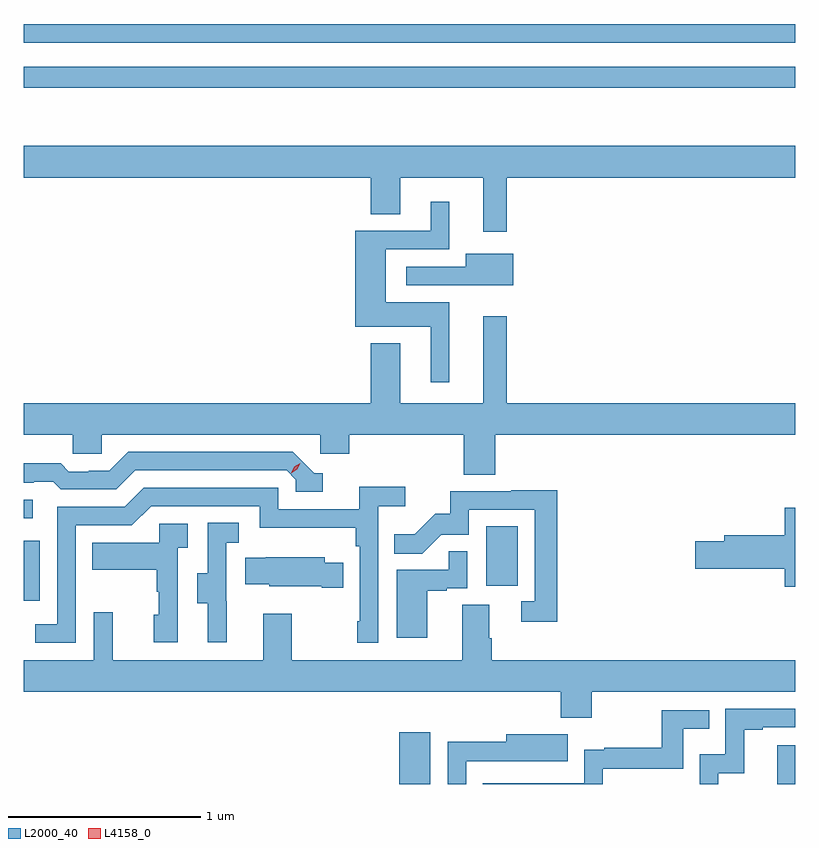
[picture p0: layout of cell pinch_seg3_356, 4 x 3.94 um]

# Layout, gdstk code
import gdstk
lib = gdstk.Library(unit=1e-6, precision=1e-09)
def R(c, l, rs):  # rectangles x0, y0, x1, y1
    for r in rs: c.add(gdstk.rectangle(r[:2], r[2:], *l))
def P(c, l, *ps):  # polygons
    for p in ps: c.add(gdstk.Polygon(p, *l))
L2000_40 = (2000, 40)
L4158_0 = (4158, 0)

pinch_seg3_356 = lib.new_cell('pinch_seg3_356')
R(pinch_seg3_356, L2000_40, [(987.866,691.114,988.027,691.381), (989.825,691.114,989.919,691.315), (985.919,692.064,986.004,692.374), (988.316,692.142,988.48,692.449), (985.919,692.49,985.966,692.586), (985.919,694.722,989.919,694.83), (985.919,694.956,989.919,695.052)])
P(pinch_seg3_356, L2000_40, [(988.423,694.256),(989.919,694.256),(989.919,694.42),(985.919,694.42),(985.919,694.256),(987.719,694.256),(987.719,694.066),(987.871,694.066),(987.871,694.256),(988.301,694.256),(988.301,693.975),(988.423,693.975)],
  [(988.126,693.61),(987.796,693.61),(987.796,693.885),(988.126,693.885),(988.126,694.132),(988.028,694.132),(988.028,693.981),(987.638,693.981),(987.638,693.482),(988.028,693.482),(988.028,693.195),(988.126,693.195)],
  [(988.456,693.862),(988.211,693.862),(988.211,693.795),(987.903,693.795),(987.903,693.699),(988.215,693.699),(988.215,693.698),(988.456,693.698)],
  [(988.364,692.924),(989.919,692.924),(989.919,693.088),(988.423,693.088),(988.423,693.538),(988.301,693.538),(988.301,693.088),(987.871,693.088),(987.871,693.397),(987.719,693.397),(987.719,693.088),(985.919,693.088),(985.919,692.924),(986.175,692.924),(986.175,692.826),(986.325,692.826),(986.325,692.924),(987.456,692.924),(987.456,692.826),(987.608,692.826),(987.608,692.924),(988.199,692.924),(988.199,692.716),(988.364,692.716)],
  [(987.469,692.724),(987.426,692.724),(987.315,692.835),(986.462,692.835),(986.363,692.736),(986.256,692.736),(986.256,692.733),(986.153,692.733),(986.111,692.776),(985.919,692.776),(985.919,692.676),(985.973,692.676),(985.973,692.679),(986.072,692.679),(986.111,692.64),(986.4,692.64),(986.499,692.739),(987.282,692.739),(987.33,692.691),(987.33,692.628),(987.469,692.628)],
  [(986.19,692.454),(986.481,692.454),(986.58,692.553),(987.144,692.553),(987.144,692.441),(987.64,692.441),(987.64,692.345),(987.66,692.345),(987.66,691.957),(987.648,691.957),(987.648,691.845),(987.756,691.845),(987.756,692.552),(987.898,692.552),(987.898,692.654),(987.659,692.654),(987.659,692.538),(987.24,692.538),(987.24,692.649),(986.543,692.649),(986.444,692.55),(986.094,692.55),(986.094,691.941),(985.981,691.941),(985.981,691.845),(986.19,691.845)],
  [(988.685,692.636),(988.447,692.636),(988.447,692.631),(988.129,692.631),(988.129,692.514),(988.052,692.514),(987.945,692.407),(987.841,692.407),(987.841,692.308),(987.985,692.308),(988.083,692.406),(988.227,692.406),(988.227,692.535),(988.569,692.535),(988.569,692.061),(988.497,692.061),(988.497,691.956),(988.685,691.956)],
  [(989.919,692.545),(989.864,692.545),(989.864,692.402),(989.549,692.402),(989.549,692.372),(989.4,692.372),(989.4,692.23),(989.864,692.23),(989.864,692.135),(989.919,692.135)],
  [(986.972,692.061),(986.97,692.061),(986.97,692.365),(987.034,692.365),(987.034,692.468),(986.874,692.468),(986.874,692.205),(986.819,692.205),(986.819,692.05),(986.873,692.05),(986.873,691.848),(986.972,691.848)],
  [(986.718,692.339),(986.77,692.339),(986.77,692.463),(986.622,692.463),(986.622,692.365),(986.275,692.365),(986.275,692.225),(986.61,692.225),(986.61,692.111),(986.62,692.111),(986.62,691.992),(986.594,691.992),(986.594,691.848),(986.718,691.848)],
  [(988.012,692.115),(988.112,692.115),(988.112,692.127),(988.218,692.127),(988.218,692.321),(988.123,692.321),(988.123,692.223),(987.854,692.223),(987.854,691.872),(988.012,691.872)],
  [(987.575,692.26),(987.481,692.26),(987.481,692.29),(987.175,692.29),(987.175,692.287),(987.067,692.287),(987.067,692.15),(987.192,692.15),(987.192,692.138),(987.464,692.138),(987.464,692.131),(987.575,692.131)],
  [(988.863,691.592),(989.919,691.592),(989.919,691.756),(988.346,691.756),(988.346,691.868),(988.333,691.868),(988.333,692.042),(988.193,692.042),(988.193,691.756),(987.309,691.756),(987.309,691.996),(987.161,691.996),(987.161,691.756),(986.381,691.756),(986.381,692.005),(986.283,692.005),(986.283,691.756),(985.919,691.756),(985.919,691.592),(988.703,691.592),(988.703,691.457),(988.863,691.457)],
  [(989.52,691.169),(989.653,691.169),(989.653,691.395),(989.749,691.395),(989.749,691.407),(989.919,691.407),(989.919,691.503),(989.556,691.503),(989.556,691.267),(989.424,691.267),(989.424,691.114),(989.52,691.114)],
  [(988.92,691.194),(989.337,691.194),(989.337,691.4),(989.471,691.4),(989.471,691.497),(989.226,691.497),(989.226,691.303),(988.927,691.303),(988.927,691.291),(988.824,691.291),(988.824,691.119),(988.299,691.119),(988.299,691.114),(988.92,691.114)],
  [(988.212,691.233),(988.525,691.233),(988.525,691.232),(988.739,691.232),(988.739,691.372),(988.421,691.372),(988.421,691.334),(988.116,691.334),(988.116,691.114),(988.212,691.114)])
P(pinch_seg3_356, L4158_0, [(987.306,692.725),(987.306,692.725),(987.322,692.758),(987.353,692.777),(987.353,692.777),(987.353,692.777),(987.337,692.744),(987.306,692.725)])

lib.write_gds('pinch_seg3_356.gds')
